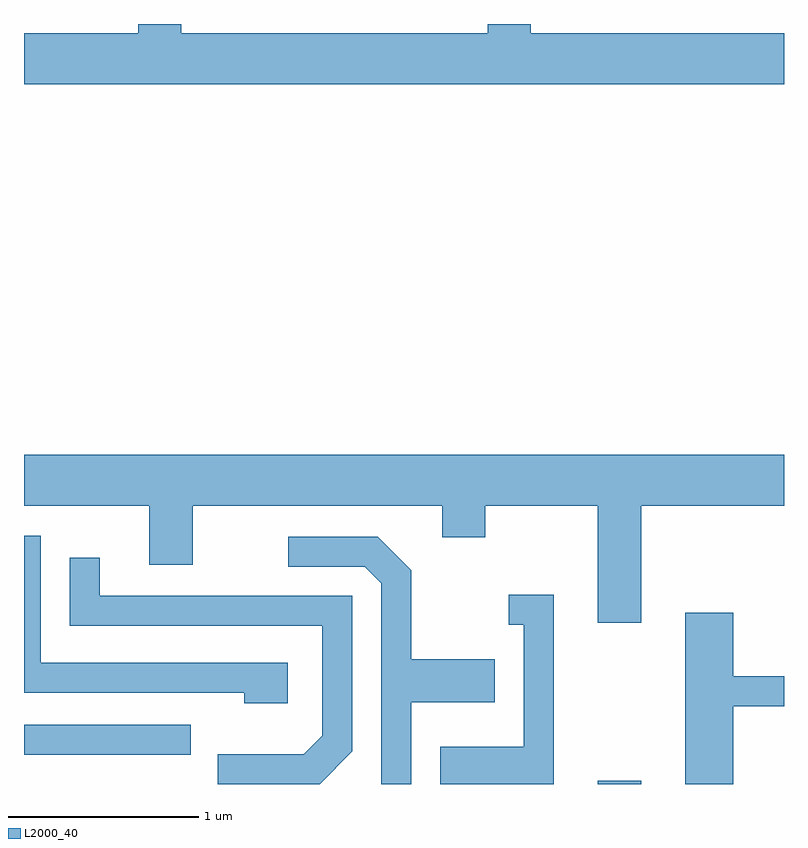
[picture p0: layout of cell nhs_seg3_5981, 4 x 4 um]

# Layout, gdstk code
import gdstk
lib = gdstk.Library(unit=1e-6, precision=1e-09)
def R(c, l, rs):  # rectangles x0, y0, x1, y1
    for r in rs: c.add(gdstk.rectangle(r[:2], r[2:], *l))
def P(c, l, *ps):  # polygons
    for p in ps: c.add(gdstk.Polygon(p, *l))
L2000_40 = (2000, 40)

nhs_seg3_5981 = lib.new_cell('nhs_seg3_5981')
R(nhs_seg3_5981, L2000_40, [(364.631,1117.892,364.859,1117.909), (361.611,1118.046,362.488,1118.204)])
P(nhs_seg3_5981, L2000_40, [(365.611,1121.844),(364.279,1121.844),(364.279,1121.892),(364.051,1121.892),(364.051,1121.844),(362.439,1121.844),(362.439,1121.892),(362.211,1121.892),(362.211,1121.844),(361.611,1121.844),(361.611,1121.576),(365.611,1121.576)],
  [(364.859,1119.356),(365.611,1119.356),(365.611,1119.624),(361.611,1119.624),(361.611,1119.356),(362.271,1119.356),(362.271,1119.046),(362.499,1119.046),(362.499,1119.356),(363.811,1119.356),(363.811,1119.191),(364.039,1119.191),(364.039,1119.356),(364.631,1119.356),(364.631,1118.741),(364.859,1118.741)],
  [(362.999,1118.529),(361.699,1118.529),(361.699,1119.199),(361.611,1119.199),(361.611,1118.371),(362.771,1118.371),(362.771,1118.316),(362.999,1118.316)],
  [(363.649,1118.321),(364.089,1118.321),(364.089,1118.549),(363.649,1118.549),(363.649,1119.017),(363.472,1119.194),(363.003,1119.194),(363.003,1119.036),(363.404,1119.036),(363.491,1118.949),(363.491,1117.892),(363.649,1117.892)],
  [(363.339,1118.064),(363.339,1118.884),(362.009,1118.884),(362.009,1119.083),(361.851,1119.083),(361.851,1118.726),(363.181,1118.726),(363.181,1118.147),(363.084,1118.049),(362.631,1118.049),(362.631,1117.892),(363.168,1117.892)],
  [(364.399,1118.889),(364.163,1118.889),(364.163,1118.731),(364.241,1118.731),(364.241,1118.089),(363.801,1118.089),(363.801,1117.892),(364.399,1117.892)],
  [(365.344,1118.301),(365.611,1118.301),(365.611,1118.459),(365.344,1118.459),(365.344,1118.794),(365.091,1118.794),(365.091,1117.892),(365.344,1117.892)])

lib.write_gds('nhs_seg3_5981.gds')
